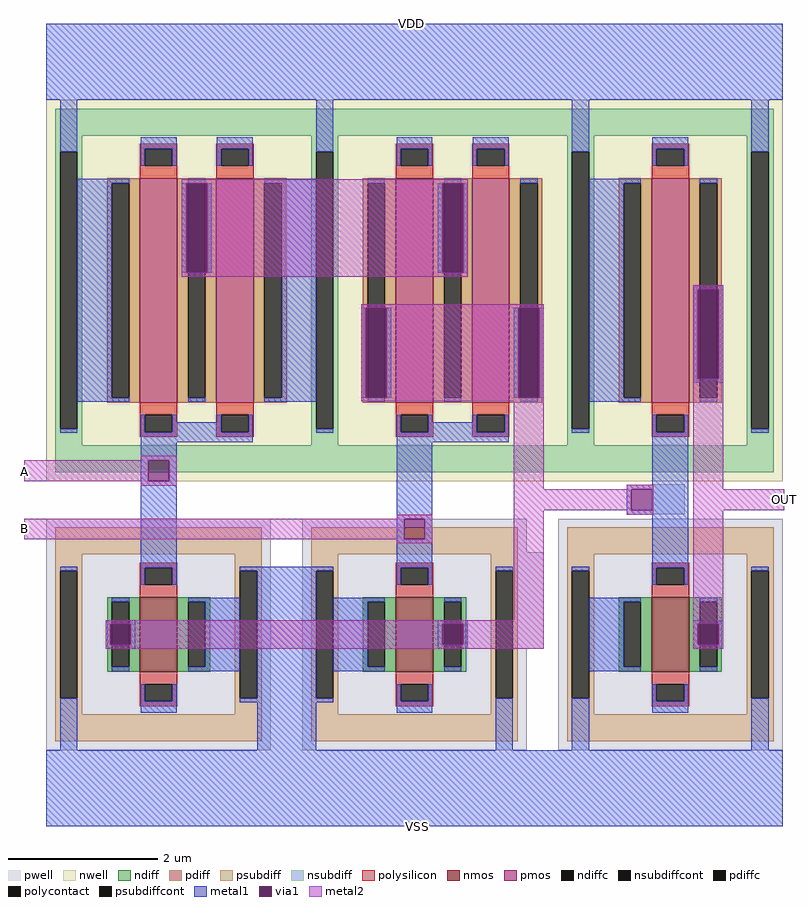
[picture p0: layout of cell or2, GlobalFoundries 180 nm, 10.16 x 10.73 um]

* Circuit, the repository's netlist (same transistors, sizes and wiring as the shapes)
* NGSPICE file created from or2.ext - technology: gf180mcuD

.subckt nor2 VDD VSS OUT A B
X0 a_2130_n110# A VDD VDD pfet_03v3 ad=0.78p pd=3.52u as=1.32p ps=6.88u w=3u l=0.5u
X1 OUT B VSS VSS nfet_03v3 ad=0.44p pd=2.88u as=0.44p ps=2.88u w=1u l=0.5u
X2 VSS A OUT VSS nfet_03v3 ad=0.44p pd=2.88u as=0.44p ps=2.88u w=1u l=0.5u
X3 OUT B a_2130_n110# VDD pfet_03v3 ad=1.32p pd=6.88u as=0.78p ps=3.52u w=3u l=0.5u
X4 VDD A a_2130_n110# VDD pfet_03v3 ad=1.32p pd=6.88u as=0.78p ps=3.52u w=3u l=0.5u
X5 a_2130_n110# B OUT VDD pfet_03v3 ad=0.78p pd=3.52u as=1.32p ps=6.88u w=3u l=0.5u
.ends

.subckt inv2 in vdd out vss
X0 out in vdd vdd pfet_03v3 ad=1.32p pd=6.88u as=1.32p ps=6.88u w=3u l=0.5u
X1 out in vss vss nfet_03v3 ad=0.44p pd=2.88u as=0.44p ps=2.88u w=1u l=0.5u
.ends

.subckt or2 VDD VSS OUT A B
Xnor2_0 VDD VSS inv2_0/in A B nor2
Xinv2_0 inv2_0/in VDD OUT VSS inv2
.ends

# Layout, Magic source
magic
tech gf180mcuD
magscale 1 10
<< nwell >>
rect 106 1180 2074 2200
<< pwell >>
rect 1726 1091 1812 1171
rect 106 460 706 1080
rect 790 990 1390 1080
rect 790 732 1436 990
rect 790 460 1390 732
rect 1474 460 2074 1080
<< nmos >>
rect 356 670 456 870
rect 1040 670 1140 870
rect 1724 670 1824 870
<< pmos >>
rect 356 1390 456 1990
rect 560 1390 660 1990
rect 1040 1390 1140 1990
rect 1244 1390 1344 1990
rect 1724 1390 1824 1990
<< ndiff >>
rect 268 857 356 870
rect 268 683 281 857
rect 327 683 356 857
rect 268 670 356 683
rect 456 857 544 870
rect 456 683 485 857
rect 531 683 544 857
rect 456 670 544 683
rect 952 857 1040 870
rect 952 683 965 857
rect 1011 683 1040 857
rect 952 670 1040 683
rect 1140 857 1228 870
rect 1140 683 1169 857
rect 1215 683 1228 857
rect 1140 670 1228 683
rect 1636 857 1724 870
rect 1636 683 1649 857
rect 1695 683 1724 857
rect 1636 670 1724 683
rect 1824 857 1912 870
rect 1824 683 1853 857
rect 1899 683 1912 857
rect 1824 670 1912 683
<< pdiff >>
rect 268 1977 356 1990
rect 268 1403 281 1977
rect 327 1403 356 1977
rect 268 1390 356 1403
rect 456 1977 560 1990
rect 456 1403 485 1977
rect 531 1403 560 1977
rect 456 1390 560 1403
rect 660 1977 748 1990
rect 660 1403 689 1977
rect 735 1403 748 1977
rect 660 1390 748 1403
rect 952 1977 1040 1990
rect 952 1403 965 1977
rect 1011 1403 1040 1977
rect 952 1390 1040 1403
rect 1140 1977 1244 1990
rect 1140 1403 1169 1977
rect 1215 1403 1244 1977
rect 1140 1390 1244 1403
rect 1344 1977 1432 1990
rect 1344 1403 1373 1977
rect 1419 1403 1432 1977
rect 1344 1390 1432 1403
rect 1636 1977 1724 1990
rect 1636 1403 1649 1977
rect 1695 1403 1724 1977
rect 1636 1390 1724 1403
rect 1824 1977 1912 1990
rect 1824 1403 1853 1977
rect 1899 1403 1912 1977
rect 1824 1390 1912 1403
<< ndiffc >>
rect 281 683 327 857
rect 485 683 531 857
rect 965 683 1011 857
rect 1169 683 1215 857
rect 1649 683 1695 857
rect 1853 683 1899 857
<< pdiffc >>
rect 281 1403 327 1977
rect 485 1403 531 1977
rect 689 1403 735 1977
rect 965 1403 1011 1977
rect 1169 1403 1215 1977
rect 1373 1403 1419 1977
rect 1649 1403 1695 1977
rect 1853 1403 1899 1977
<< psubdiff >>
rect 130 984 682 1056
rect 130 940 202 984
rect 130 600 143 940
rect 189 600 202 940
rect 610 940 682 984
rect 130 556 202 600
rect 610 600 623 940
rect 669 600 682 940
rect 610 556 682 600
rect 130 484 682 556
rect 814 984 1366 1056
rect 814 940 886 984
rect 814 600 827 940
rect 873 600 886 940
rect 1294 940 1366 984
rect 814 556 886 600
rect 1294 600 1307 940
rect 1353 600 1366 940
rect 1294 556 1366 600
rect 814 484 1366 556
rect 1498 984 2050 1056
rect 1498 940 1570 984
rect 1498 600 1511 940
rect 1557 600 1570 940
rect 1978 940 2050 984
rect 1498 556 1570 600
rect 1978 600 1991 940
rect 2037 600 2050 940
rect 1978 556 2050 600
rect 1498 484 2050 556
<< nsubdiff >>
rect 130 2104 2050 2176
rect 130 2060 202 2104
rect 130 1320 143 2060
rect 189 1320 202 2060
rect 814 2060 886 2104
rect 130 1276 202 1320
rect 814 1320 827 2060
rect 873 1320 886 2060
rect 1498 2060 1570 2104
rect 814 1276 886 1320
rect 1498 1320 1511 2060
rect 1557 1320 1570 2060
rect 1978 2060 2050 2104
rect 1498 1276 1570 1320
rect 1978 1320 1991 2060
rect 2037 1320 2050 2060
rect 1978 1276 2050 1320
rect 130 1204 2050 1276
<< psubdiffcont >>
rect 143 600 189 940
rect 623 600 669 940
rect 827 600 873 940
rect 1307 600 1353 940
rect 1511 600 1557 940
rect 1991 600 2037 940
<< nsubdiffcont >>
rect 143 1320 189 2060
rect 827 1320 873 2060
rect 1511 1320 1557 2060
rect 1991 1320 2037 2060
<< polysilicon >>
rect 356 2069 456 2082
rect 356 2023 369 2069
rect 443 2023 456 2069
rect 356 1990 456 2023
rect 560 2069 660 2082
rect 560 2023 573 2069
rect 647 2023 660 2069
rect 560 1990 660 2023
rect 356 1357 456 1390
rect 356 1311 369 1357
rect 443 1311 456 1357
rect 356 1298 456 1311
rect 560 1357 660 1390
rect 560 1311 573 1357
rect 647 1311 660 1357
rect 560 1298 660 1311
rect 1040 2069 1140 2082
rect 1040 2023 1053 2069
rect 1127 2023 1140 2069
rect 1040 1990 1140 2023
rect 1244 2069 1344 2082
rect 1244 2023 1257 2069
rect 1331 2023 1344 2069
rect 1244 1990 1344 2023
rect 1040 1357 1140 1390
rect 1040 1311 1053 1357
rect 1127 1311 1140 1357
rect 1040 1298 1140 1311
rect 1244 1357 1344 1390
rect 1244 1311 1257 1357
rect 1331 1311 1344 1357
rect 1244 1298 1344 1311
rect 1724 2069 1824 2082
rect 1724 2023 1737 2069
rect 1811 2023 1824 2069
rect 1724 1990 1824 2023
rect 1724 1357 1824 1390
rect 1724 1311 1737 1357
rect 1811 1311 1824 1357
rect 1724 1298 1824 1311
rect 356 949 456 962
rect 356 903 369 949
rect 443 903 456 949
rect 356 870 456 903
rect 356 637 456 670
rect 356 591 369 637
rect 443 591 456 637
rect 356 578 456 591
rect 1040 949 1140 962
rect 1040 903 1053 949
rect 1127 903 1140 949
rect 1040 870 1140 903
rect 1040 637 1140 670
rect 1040 591 1053 637
rect 1127 591 1140 637
rect 1040 578 1140 591
rect 1724 949 1824 962
rect 1724 903 1737 949
rect 1811 903 1824 949
rect 1724 870 1824 903
rect 1724 637 1824 670
rect 1724 591 1737 637
rect 1811 591 1824 637
rect 1724 578 1824 591
<< polycontact >>
rect 369 2023 443 2069
rect 573 2023 647 2069
rect 369 1311 443 1357
rect 573 1311 647 1357
rect 1053 2023 1127 2069
rect 1257 2023 1331 2069
rect 1053 1311 1127 1357
rect 1257 1311 1331 1357
rect 1737 2023 1811 2069
rect 1737 1311 1811 1357
rect 369 903 443 949
rect 369 591 443 637
rect 1053 903 1127 949
rect 1053 591 1127 637
rect 1737 903 1811 949
rect 1737 591 1811 637
<< metal1 >>
rect 106 2200 2074 2403
rect 143 2060 189 2200
rect 358 2069 454 2100
rect 358 2023 369 2069
rect 443 2023 454 2069
rect 562 2069 658 2100
rect 562 2023 573 2069
rect 647 2023 658 2069
rect 827 2060 873 2200
rect 189 1977 327 1988
rect 485 1977 531 1988
rect 689 1977 827 1988
rect 189 1403 281 1977
rect 468 1737 480 1977
rect 536 1737 548 1977
rect 189 1392 327 1403
rect 485 1392 531 1403
rect 735 1403 827 1977
rect 689 1392 827 1403
rect 143 1309 189 1320
rect 358 1311 369 1357
rect 443 1337 454 1357
rect 562 1337 573 1357
rect 443 1311 573 1337
rect 647 1311 658 1357
rect 358 1284 658 1311
rect 1042 2069 1138 2100
rect 1042 2023 1053 2069
rect 1127 2023 1138 2069
rect 1246 2069 1342 2100
rect 1246 2023 1257 2069
rect 1331 2023 1342 2069
rect 1511 2060 1557 2200
rect 965 1977 1011 1988
rect 1169 1977 1215 1988
rect 1373 1977 1419 1988
rect 1152 1737 1164 1977
rect 1220 1737 1232 1977
rect 948 1403 960 1643
rect 1016 1403 1028 1643
rect 1356 1403 1368 1643
rect 1424 1403 1436 1643
rect 965 1392 1011 1403
rect 1169 1392 1215 1403
rect 1373 1392 1419 1403
rect 827 1309 873 1320
rect 1042 1311 1053 1357
rect 1127 1337 1138 1357
rect 1246 1337 1257 1357
rect 1127 1311 1257 1337
rect 1331 1311 1342 1357
rect 1042 1284 1342 1311
rect 1726 2069 1822 2100
rect 1726 2023 1737 2069
rect 1811 2023 1822 2069
rect 1991 2060 2037 2200
rect 1557 1977 1695 1988
rect 1557 1403 1649 1977
rect 1853 1977 1899 1988
rect 1836 1693 1853 1703
rect 1899 1693 1916 1703
rect 1836 1453 1848 1693
rect 1904 1453 1916 1693
rect 1836 1443 1853 1453
rect 1557 1392 1695 1403
rect 1899 1443 1916 1453
rect 1853 1392 1899 1403
rect 1511 1309 1557 1320
rect 1726 1311 1737 1357
rect 1811 1311 1822 1357
rect 358 1236 454 1284
rect 358 1180 378 1236
rect 434 1180 454 1236
rect 143 940 189 951
rect 358 949 454 1180
rect 1042 1080 1138 1284
rect 1726 1170 1822 1311
rect 1991 1309 2037 1320
rect 1658 1158 1822 1170
rect 1658 1102 1670 1158
rect 1726 1102 1822 1158
rect 1658 1090 1822 1102
rect 1042 1024 1062 1080
rect 1118 1024 1138 1080
rect 358 903 369 949
rect 443 903 454 949
rect 623 940 873 951
rect 281 857 327 868
rect 264 798 281 808
rect 485 857 623 868
rect 327 798 344 808
rect 264 742 276 798
rect 332 742 344 798
rect 264 732 281 742
rect 327 732 344 742
rect 281 672 327 683
rect 531 683 623 857
rect 485 672 623 683
rect 143 460 189 600
rect 358 591 369 637
rect 443 591 454 637
rect 358 560 454 591
rect 669 600 827 940
rect 1042 949 1138 1024
rect 1042 903 1053 949
rect 1127 903 1138 949
rect 1307 940 1353 951
rect 873 857 1011 868
rect 873 683 965 857
rect 1169 857 1215 868
rect 1152 798 1169 808
rect 1215 798 1232 808
rect 1152 742 1164 798
rect 1220 742 1232 798
rect 1152 732 1169 742
rect 873 672 1011 683
rect 1215 732 1232 742
rect 1169 672 1215 683
rect 623 589 873 600
rect 1042 591 1053 637
rect 1127 591 1138 637
rect 669 460 827 589
rect 1042 560 1138 591
rect 1307 460 1353 600
rect 1511 940 1557 951
rect 1726 949 1822 1090
rect 1726 903 1737 949
rect 1811 903 1822 949
rect 1991 940 2037 951
rect 1557 857 1695 868
rect 1557 683 1649 857
rect 1853 857 1899 868
rect 1836 798 1853 808
rect 1899 798 1916 808
rect 1836 742 1848 798
rect 1904 742 1916 798
rect 1836 732 1853 742
rect 1557 672 1695 683
rect 1899 732 1916 742
rect 1853 672 1899 683
rect 1511 460 1557 600
rect 1726 591 1737 637
rect 1811 591 1822 637
rect 1726 560 1822 591
rect 1991 460 2037 600
rect 106 257 2074 460
<< via1 >>
rect 480 1737 485 1977
rect 485 1737 531 1977
rect 531 1737 536 1977
rect 1164 1737 1169 1977
rect 1169 1737 1215 1977
rect 1215 1737 1220 1977
rect 960 1403 965 1643
rect 965 1403 1011 1643
rect 1011 1403 1016 1643
rect 1368 1403 1373 1643
rect 1373 1403 1419 1643
rect 1419 1403 1424 1643
rect 1848 1453 1853 1693
rect 1853 1453 1899 1693
rect 1899 1453 1904 1693
rect 378 1180 434 1236
rect 1670 1102 1726 1158
rect 1062 1024 1118 1080
rect 276 742 281 798
rect 281 742 327 798
rect 327 742 332 798
rect 1164 742 1169 798
rect 1169 742 1215 798
rect 1215 742 1220 798
rect 1848 742 1853 798
rect 1853 742 1899 798
rect 1899 742 1904 798
<< metal2 >>
rect 468 1977 1232 1987
rect 468 1737 480 1977
rect 536 1737 1164 1977
rect 1220 1737 1232 1977
rect 468 1727 1232 1737
rect 1836 1693 1916 1703
rect 948 1643 1436 1653
rect 948 1403 960 1643
rect 1016 1403 1368 1643
rect 1424 1403 1436 1643
rect 948 1393 1436 1403
rect 358 1236 454 1248
rect 46 1180 378 1236
rect 434 1180 454 1236
rect 358 1168 454 1180
rect 1356 1158 1436 1393
rect 1836 1453 1848 1693
rect 1904 1453 1916 1693
rect 1658 1158 1728 1170
rect 1356 1102 1670 1158
rect 1726 1102 1728 1158
rect 1042 1080 1138 1090
rect 46 1024 1062 1080
rect 1118 1024 1138 1080
rect 1042 1014 1138 1024
rect 1356 808 1436 1102
rect 1658 1090 1728 1102
rect 1836 1158 1916 1453
rect 1836 1102 2078 1158
rect 264 798 1436 808
rect 264 742 276 798
rect 332 742 1164 798
rect 1220 742 1436 798
rect 264 732 1436 742
rect 1836 798 1916 1102
rect 1836 742 1848 798
rect 1904 742 1916 798
rect 1836 732 1916 742
<< labels >>
rlabel metal1 1083 2403 1083 2403 1 VDD
port 0 n
rlabel metal1 1098 257 1098 257 5 VSS
port 1 s
rlabel metal2 2078 1130 2078 1130 3 OUT
port 2 e
rlabel metal2 46 1207 46 1207 7 A
port 3 w
rlabel metal2 46 1052 46 1052 7 B
port 4 w
<< end >>
